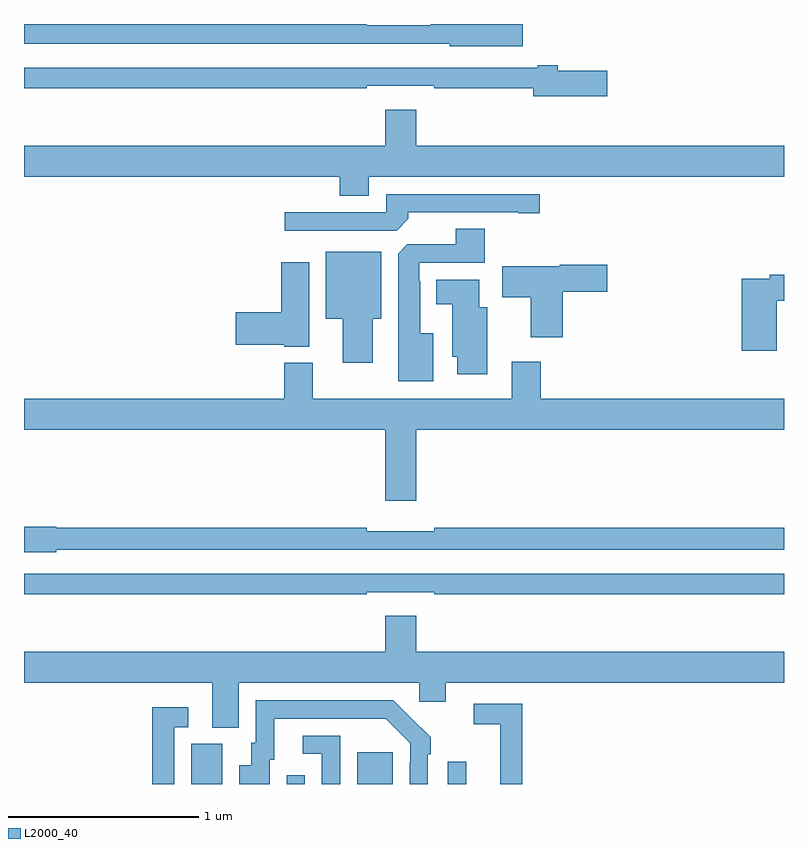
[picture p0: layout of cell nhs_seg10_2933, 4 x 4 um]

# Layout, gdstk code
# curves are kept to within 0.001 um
import gdstk
lib = gdstk.Library(unit=1e-6, precision=1e-09)
def R(c, l, rs):  # rectangles x0, y0, x1, y1
    for r in rs: c.add(gdstk.rectangle(r[:2], r[2:], *l))
def P(c, l, *ps):  # polygons
    for p in ps: c.add(gdstk.Polygon(p, *l))
L2000_40 = (2000, 40)

nhs_seg10_2933 = lib.new_cell('nhs_seg10_2933')
R(nhs_seg10_2933, L2000_40, [(271.88,1250.5,272.044,1250.712), (272.382,1250.5,272.478,1250.545), (272.753,1250.5,272.941,1250.668), (273.231,1250.5,273.327,1250.617)])
P(nhs_seg10_2933, L2000_40, [(273.625,1254.5),(273.14,1254.5),(273.14,1254.493),(272.804,1254.493),(272.804,1254.5),(271,1254.5),(271,1254.396),(273.24,1254.396),(273.24,1254.383),(273.625,1254.383)],
  [(274.069,1254.254),(273.808,1254.254),(273.808,1254.283),(273.704,1254.283),(273.704,1254.27),(271,1254.27),(271,1254.162),(272.804,1254.162),(272.804,1254.174),(273.16,1254.174),(273.16,1254.162),(273.68,1254.162),(273.68,1254.119),(274.069,1254.119)],
  [(272.815,1253.696),(275,1253.696),(275,1253.86),(273.064,1253.86),(273.064,1254.049),(272.9,1254.049),(272.9,1253.86),(271,1253.86),(271,1253.696),(272.663,1253.696),(272.663,1253.597),(272.815,1253.597)],
  [(273.023,1253.474),(273.023,1253.508),(273.602,1253.508),(273.602,1253.503),(273.715,1253.503),(273.715,1253.604),(272.907,1253.604),(272.907,1253.508),(272.373,1253.508),(272.373,1253.412),(272.961,1253.412)],
  [(273.154,1252.873),(273.085,1252.873),(273.085,1253.147),(273.081,1253.147),(273.081,1253.244),(273.425,1253.244),(273.425,1253.423),(273.272,1253.423),(273.272,1253.34),(273.018,1253.34),(272.969,1253.291),(272.969,1252.619),(273.154,1252.619)],
  [(272.836,1252.949),(272.881,1252.949),(272.881,1253.302),(272.588,1253.302),(272.588,1252.949),(272.678,1252.949),(272.678,1252.716),(272.836,1252.716)],
  [(272.5,1253.245),(272.354,1253.245),(272.354,1252.982),(272.115,1252.982),(272.115,1252.811),(272.37,1252.811),(272.37,1252.802),(272.5,1252.802)],
  [(273.836,1253.09),(274.069,1253.09),(274.069,1253.232),(273.819,1253.232),(273.819,1253.224),(273.516,1253.224),(273.516,1253.062),(273.668,1253.062),(273.668,1252.851),(273.836,1252.851)],
  [(274.961,1253.044),(275,1253.044),(275,1253.18),(274.924,1253.18),(274.924,1253.16),(274.778,1253.16),(274.778,1252.779),(274.961,1252.779)],
  [(273.439,1253.008),(273.397,1253.008),(273.397,1253.155),(273.17,1253.155),(273.17,1253.024),(273.254,1253.024),(273.254,1252.749),(273.281,1252.749),(273.281,1252.656),(273.439,1252.656)],
  [(273.064,1252.364),(275,1252.364),(275,1252.528),(273.719,1252.528),(273.719,1252.723),(273.566,1252.723),(273.566,1252.528),(272.521,1252.528),(272.521,1252.717),(272.369,1252.717),(272.369,1252.528),(271,1252.528),(271,1252.364),(272.9,1252.364),(272.9,1251.99),(273.064,1251.99)],
  [(271.17,1251.732),(275,1251.732),(275,1251.848),(273.16,1251.848),(273.16,1251.829),(272.804,1251.829),(272.804,1251.848),(271.17,1251.848),(271.17,1251.854),(271,1251.854),(271,1251.719),(271.17,1251.719)],
  [(272.804,1251.51),(273.16,1251.51),(273.16,1251.498),(275,1251.498),(275,1251.606),(271,1251.606),(271,1251.498),(272.804,1251.498)],
  [(272.131,1251.032),(273.081,1251.032),(273.081,1250.934),(273.22,1250.934),(273.22,1251.032),(275,1251.032),(275,1251.196),(273.064,1251.196),(273.064,1251.385),(272.9,1251.385),(272.9,1251.196),(271,1251.196),(271,1251.032),(271.991,1251.032),(271.991,1250.797),(272.131,1250.797)],
  [(272.293,1250.628),(272.317,1250.628),(272.317,1250.844),(272.905,1250.844),(273.033,1250.715),(273.033,1250.615),(273.03,1250.615),(273.03,1250.5),(273.126,1250.5),(273.126,1250.657),(273.141,1250.657),(273.141,1250.745),(272.944,1250.94),(272.22,1250.94),(272.22,1250.718),(272.195,1250.718),(272.195,1250.599),(272.132,1250.599),(272.132,1250.5),(272.293,1250.5)],
  [(273.623,1250.922),(273.366,1250.922),(273.366,1250.814),(273.506,1250.814),(273.506,1250.5),(273.623,1250.5)],
  [(271.791,1250.799),(271.864,1250.799),(271.864,1250.905),(271.675,1250.905),(271.675,1250.5),(271.791,1250.5)],
  [(272.664,1250.754),(272.466,1250.754),(272.466,1250.658),(272.568,1250.658),(272.568,1250.5),(272.664,1250.5)])

lib.write_gds('nhs_seg10_2933.gds')
